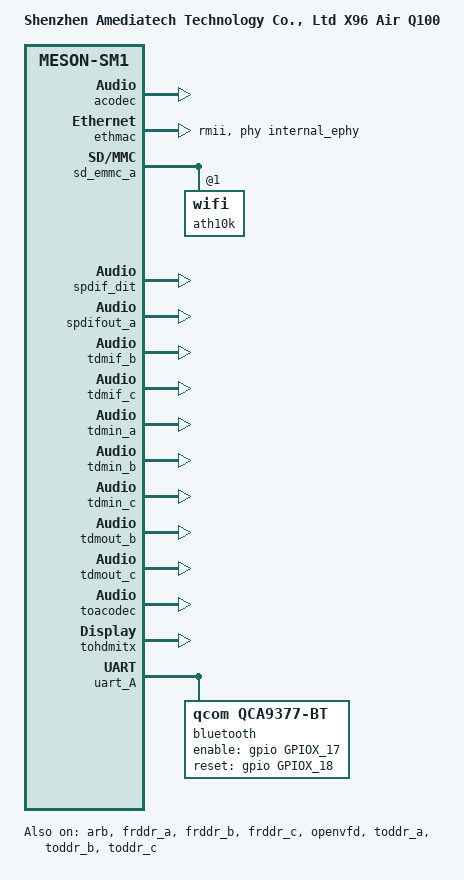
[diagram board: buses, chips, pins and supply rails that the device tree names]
// SPDX-License-Identifier: (GPL-2.0+ OR MIT)
/*
 * Copyright (c) 2019 BayLibre SAS. All rights reserved.
 * Copyright (c) 2020 Christian Hewitt <christianshewitt@gmail.com>
 * Edited by Patrick Yavitz <pyavitz@gmail.com>
 */

/dts-v1/;

#include "meson-sm1-ac2xx.dtsi"
#include <dt-bindings/sound/meson-g12a-toacodec.h>
#include <dt-bindings/sound/meson-g12a-tohdmitx.h>

/ {
	compatible = "amediatech,x96-air-q100", "amlogic,sm1";
	model = "Shenzhen Amediatech Technology Co., Ltd X96 Air Q100";

	aliases {
		serial2 = &uart_A;
		ethernet0 = &ethmac;
		rtc0 = &vrtc;
	};

	sound {
		compatible = "amlogic,axg-sound-card";
		model = "X96-AIR";
		audio-widgets = "Line", "Lineout";
		audio-aux-devs = <&tdmout_b>, <&tdmout_c>;
		audio-routing = "TDMOUT_B IN 0", "FRDDR_A OUT 1",
				"TDMOUT_B IN 1", "FRDDR_B OUT 1",
				"TDMOUT_B IN 2", "FRDDR_C OUT 1",
				"TDM_B Playback", "TDMOUT_B OUT",
				"TDMOUT_C IN 0", "FRDDR_A OUT 2",
				"TDMOUT_C IN 1", "FRDDR_B OUT 2",
				"TDMOUT_C IN 2", "FRDDR_C OUT 2",
				"TDM_C Playback", "TDMOUT_C OUT",
				"SPDIFOUT_A IN 0", "FRDDR_A OUT 3",
				"SPDIFOUT_A IN 1", "FRDDR_B OUT 3",
				"SPDIFOUT_A IN 2", "FRDDR_C OUT 3",
				"Lineout", "ACODEC LOLP",
				"Lineout", "ACODEC LORP";

		assigned-clocks = <&clkc CLKID_MPLL2>,
				  <&clkc CLKID_MPLL0>,
				  <&clkc CLKID_MPLL1>;
		assigned-clock-parents = <0>, <0>, <0>;
		assigned-clock-rates = <294912000>,
				       <270950400>,
				       <393216000>;

		dai-link-0 {
			sound-dai = <&frddr_a>;
		};

		dai-link-1 {
			sound-dai = <&frddr_b>;
		};

		dai-link-2 {
			sound-dai = <&frddr_c>;
		};

		dai-link-3 {
			sound-dai = <&toddr_a>;
		};

		dai-link-4 {
			sound-dai = <&toddr_b>;
		};

		dai-link-5 {
			sound-dai = <&toddr_c>;
		};

		/* 8ch hdmi interface */
		dai-link-6 {
			sound-dai = <&tdmif_b>;
			dai-format = "i2s";
			dai-tdm-slot-tx-mask-0 = <1 1>;
			dai-tdm-slot-tx-mask-1 = <1 1>;
			dai-tdm-slot-tx-mask-2 = <1 1>;
			dai-tdm-slot-tx-mask-3 = <1 1>;
			mclk-fs = <256>;

			codec-0 {
				sound-dai = <&tohdmitx TOHDMITX_I2S_IN_B>;
			};

			codec-1 {
				sound-dai = <&toacodec TOACODEC_IN_B>;
			};
		};

               /* i2s jack output interface */
               dai-link-7 {
                       sound-dai = <&tdmif_c>;
                       dai-format = "i2s";
                       dai-tdm-slot-tx-mask-0 = <1 1>;
                       mclk-fs = <256>;

                       codec-0 {
                               sound-dai = <&tohdmitx TOHDMITX_I2S_IN_C>;
                       };

                       codec-1 {
                               sound-dai = <&toacodec TOACODEC_IN_C>;
                       };
               };

		/* hdmi glue */
		dai-link-8 {
			sound-dai = <&tohdmitx TOHDMITX_I2S_OUT>;

			codec {
				sound-dai = <&hdmi_tx>;
			};
		};

		/* acodec glue */
		dai-link-9 {
			sound-dai = <&toacodec TOACODEC_OUT>;

			codec {
				sound-dai = <&acodec>;
			};
		};

		/* spdif hdmi or toslink interface */
		dai-link-10 {
			sound-dai = <&spdifout_a>;

			codec-0 {
				sound-dai = <&spdif_dit>;
			};

			codec-1 {
				sound-dai = <&tohdmitx TOHDMITX_SPDIF_IN_A>;
			};
		};
	};
};

&acodec {
	AVDD-supply = <&vddao_1v8>;
	status = "okay";
};

&arb {
	status = "okay";
};

&clkc_audio {
	status = "okay";
};

&ethmac {
	status = "okay";
	phy-handle = <&internal_ephy>;
	phy-mode = "rmii";
};

&frddr_a {
	status = "okay";
};

&frddr_b {
	status = "okay";
};

&frddr_c {
	status = "okay";
};

&ir {
	linux,rc-map-name = "rc-x96max";
};

&openvfd {
	status = "okay";
};

&sd_emmc_a {
	max-frequency = <100000000>;

	ath10k: wifi@1 {
		reg = <1>;
	};
};

&spdif_dit {
	status = "okay";
};

&spdifout_a {
	pinctrl-0 = <&spdif_out_h_pins>;
	pinctrl-names = "default";
	status = "okay";
};

&tdmif_b {
	status = "okay";
};

&tdmif_c {
       status = "okay";
};

&tdmin_a {
	status = "okay";
};

&tdmin_b {
	status = "okay";
};

&tdmin_c {
	status = "okay";
};

&tdmout_b {
	status = "okay";
};

&tdmout_c {
	status = "okay";
};

&toacodec {
       status = "okay";
};

&tohdmitx {
	status = "okay";
};

&toddr_a {
	status = "okay";
};

&toddr_b {
	status = "okay";
};

&toddr_c {
	status = "okay";
};

&i2c1 {
	pinctrl-0 = <&i2c1_sda_h6_pins>, <&i2c1_sck_h7_pins>;
	pinctrl-names = "default";
};

&uart_A {
	status = "okay";
	pinctrl-0 = <&uart_a_pins>, <&uart_a_cts_rts_pins>;
	pinctrl-names = "default";
	uart-has-rtscts;

	bluetooth {
		compatible = "qcom,qca9377-bt";
		enable-gpios  = <&gpio GPIOX_17 GPIO_ACTIVE_HIGH>;
		reset-gpios = <&gpio GPIOX_18 GPIO_ACTIVE_HIGH>;
		max-speed = <2000000>;
		clocks = <&wifi32k>;
		clock-names = "lpo";
	};
};
